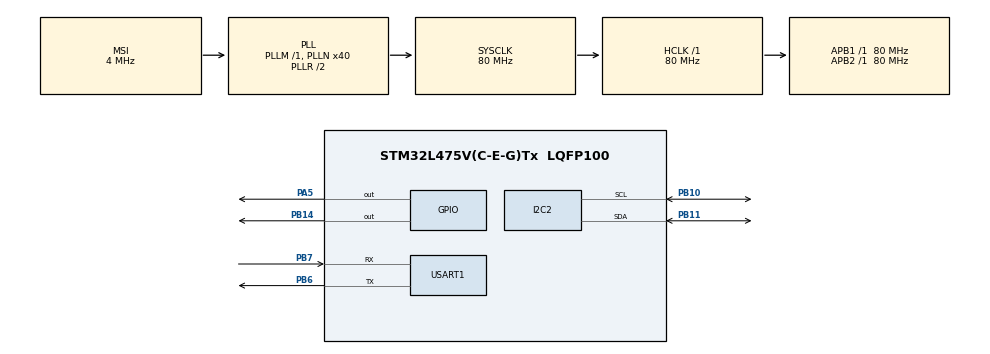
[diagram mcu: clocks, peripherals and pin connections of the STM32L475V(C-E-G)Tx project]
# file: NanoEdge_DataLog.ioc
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I2C2.Timing=0x10D19CE4
Mcu.Family=STM32L4
Mcu.Name=STM32L475V(C-E-G)Tx
Mcu.Package=LQFP100
NVIC.PriorityGroup=NVIC_PRIORITYGROUP_4
PA5.Signal=GPIO_Output
PB10.Mode=I2C
PB10.Signal=I2C2_SCL
PB11.Mode=I2C
PB11.Signal=I2C2_SDA
PB14.Signal=GPIO_Output
PB6.Mode=Asynchronous
PB6.Signal=USART1_TX
PB7.Mode=Asynchronous
PB7.Signal=USART1_RX
ProjectManager.HeapSize=0x200
ProjectManager.StackSize=0x400
ProjectManager.TargetToolchain=STM32CubeIDE
RCC.AHBFreq_Value=80000000
RCC.APB1Freq_Value=80000000
RCC.APB1TimFreq_Value=80000000
RCC.APB2Freq_Value=80000000
RCC.APB2TimFreq_Value=80000000
RCC.CortexFreq_Value=80000000
RCC.HCLKFreq_Value=80000000
RCC.HSE_VALUE=8000000
RCC.HSI_VALUE=16000000
RCC.LSE_VALUE=32768
RCC.MSI_VALUE=4000000
RCC.PLLN=40
RCC.SYSCLKFreq_VALUE=80000000
RCC.SYSCLKSource=RCC_SYSCLKSOURCE_PLLCLK
RCC.VCOOutputFreq_Value=160000000
USART1.VirtualMode-Asynchronous=VM_ASYNC
board=custom

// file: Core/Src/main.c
/* USER CODE BEGIN Header */
/**
  ******************************************************************************
  * @file           : main.c
  * @brief          : Main program body
  ******************************************************************************
  * @attention
  *
  * Copyright (c) 2026 STMicroelectronics.
  * All rights reserved.
  *
  * This software is licensed under terms that can be found in the LICENSE file
  * in the root directory of this software component.
  * If no LICENSE file comes with this software, it is provided AS-IS.
  *
  ******************************************************************************
  */
/* USER CODE END Header */
#include "main.h"

/* USER CODE BEGIN Includes */
#include <string.h>
#include <stdio.h>
#include "LSM6DSL.h"

/* USER CODE END Includes */

/* USER CODE BEGIN PD */
#define N_SAMPLE 64
/* USER CODE END PD */

I2C_HandleTypeDef hi2c2;

UART_HandleTypeDef huart1;

void SystemClock_Config(void);
static void MX_GPIO_Init(void);
static void MX_I2C2_Init(void);
static void MX_USART1_UART_Init(void);

int main(void)
{

  /* MCU Configuration--------------------------------------------------------*/

  /* Reset of all peripherals, Initializes the Flash interface and the Systick. */
  HAL_Init();

  /* Configure the system clock */
  SystemClock_Config();

  /* Initialize all configured peripherals */
  MX_GPIO_Init();
  MX_I2C2_Init();
  MX_USART1_UART_Init();
  /* USER CODE BEGIN 2 */

  //Inicialización acelerómetro:
  LSM6DSL_Init();

  /* USER CODE END 2 */

  /* Infinite loop */
  /* USER CODE BEGIN WHILE */
  while (1)
  {
	 /* printf("Hola NanoEdge!\r\n");
	  HAL_Delay(500);*/

	  //Variable para guardar datos
	  float accel[3];

	  for(uint16_t i = 0; i < N_SAMPLE ; i++){

		  //Esperar a dato listo
		  while(!LSM6DSL_DataReady());

		  //Leer los datos del acelerometro
		  LSM6DSL_ReadAccel(accel);

		  //Enviarlos al PC por el puerto serie
		  printf("%.3f %.3f %.3f ", accel[0], accel[1], accel[2]);
	  }

	  //Salto de linea
	  printf("\r\n");
    /* USER CODE END WHILE */

  }
}

void SystemClock_Config(void)
{
  RCC_OscInitTypeDef RCC_OscInitStruct = {0};
  RCC_ClkInitTypeDef RCC_ClkInitStruct = {0};

  /** Configure the main internal regulator output voltage
  */
  if (HAL_PWREx_ControlVoltageScaling(PWR_REGULATOR_VOLTAGE_SCALE1) != HAL_OK)
  {
    Error_Handler();
  }

  /** Initializes the RCC Oscillators according to the specified parameters
  * in the RCC_OscInitTypeDef structure.
  */
  RCC_OscInitStruct.OscillatorType = RCC_OSCILLATORTYPE_MSI;
  RCC_OscInitStruct.MSIState = RCC_MSI_ON;
  RCC_OscInitStruct.MSICalibrationValue = 0;
  RCC_OscInitStruct.MSIClockRange = RCC_MSIRANGE_6;
  RCC_OscInitStruct.PLL.PLLState = RCC_PLL_ON;
  RCC_OscInitStruct.PLL.PLLSource = RCC_PLLSOURCE_MSI;
  RCC_OscInitStruct.PLL.PLLM = 1;
  RCC_OscInitStruct.PLL.PLLN = 40;
  RCC_OscInitStruct.PLL.PLLP = RCC_PLLP_DIV7;
  RCC_OscInitStruct.PLL.PLLQ = RCC_PLLQ_DIV2;
  RCC_OscInitStruct.PLL.PLLR = RCC_PLLR_DIV2;
  if (HAL_RCC_OscConfig(&RCC_OscInitStruct) != HAL_OK)
  {
    Error_Handler();
  }

  /** Initializes the CPU, AHB and APB buses clocks
  */
  RCC_ClkInitStruct.ClockType = RCC_CLOCKTYPE_HCLK|RCC_CLOCKTYPE_SYSCLK
                              |RCC_CLOCKTYPE_PCLK1|RCC_CLOCKTYPE_PCLK2;
  RCC_ClkInitStruct.SYSCLKSource = RCC_SYSCLKSOURCE_PLLCLK;
  RCC_ClkInitStruct.AHBCLKDivider = RCC_SYSCLK_DIV1;
  RCC_ClkInitStruct.APB1CLKDivider = RCC_HCLK_DIV1;
  RCC_ClkInitStruct.APB2CLKDivider = RCC_HCLK_DIV1;

  if (HAL_RCC_ClockConfig(&RCC_ClkInitStruct, FLASH_LATENCY_4) != HAL_OK)
  {
    Error_Handler();
  }
}

static void MX_I2C2_Init(void)
{

  hi2c2.Instance = I2C2;
  hi2c2.Init.Timing = 0x10D19CE4;
  hi2c2.Init.OwnAddress1 = 0;
  hi2c2.Init.AddressingMode = I2C_ADDRESSINGMODE_7BIT;
  hi2c2.Init.DualAddressMode = I2C_DUALADDRESS_DISABLE;
  hi2c2.Init.OwnAddress2 = 0;
  hi2c2.Init.OwnAddress2Masks = I2C_OA2_NOMASK;
  hi2c2.Init.GeneralCallMode = I2C_GENERALCALL_DISABLE;
  hi2c2.Init.NoStretchMode = I2C_NOSTRETCH_DISABLE;
  if (HAL_I2C_Init(&hi2c2) != HAL_OK)
  {
    Error_Handler();
  }

  /** Configure Analogue filter
  */
  if (HAL_I2CEx_ConfigAnalogFilter(&hi2c2, I2C_ANALOGFILTER_ENABLE) != HAL_OK)
  {
    Error_Handler();
  }

  /** Configure Digital filter
  */
  if (HAL_I2CEx_ConfigDigitalFilter(&hi2c2, 0) != HAL_OK)
  {
    Error_Handler();
  }

}

static void MX_USART1_UART_Init(void)
{

  huart1.Instance = USART1;
  huart1.Init.BaudRate = 115200;
  huart1.Init.WordLength = UART_WORDLENGTH_8B;
  huart1.Init.StopBits = UART_STOPBITS_1;
  huart1.Init.Parity = UART_PARITY_NONE;
  huart1.Init.Mode = UART_MODE_TX_RX;
  huart1.Init.HwFlowCtl = UART_HWCONTROL_NONE;
  huart1.Init.OverSampling = UART_OVERSAMPLING_16;
  huart1.Init.OneBitSampling = UART_ONE_BIT_SAMPLE_DISABLE;
  huart1.AdvancedInit.AdvFeatureInit = UART_ADVFEATURE_NO_INIT;
  if (HAL_UART_Init(&huart1) != HAL_OK)
  {
    Error_Handler();
  }

}

static void MX_GPIO_Init(void)
{
  GPIO_InitTypeDef GPIO_InitStruct = {0};

  /* GPIO Ports Clock Enable */
  __HAL_RCC_GPIOA_CLK_ENABLE();
  __HAL_RCC_GPIOB_CLK_ENABLE();

  /*Configure GPIO pin Output Level */
  HAL_GPIO_WritePin(GPIOA, GPIO_PIN_5, GPIO_PIN_RESET);

  /*Configure GPIO pin Output Level */
  HAL_GPIO_WritePin(GPIOB, GPIO_PIN_14, GPIO_PIN_RESET);

  /*Configure GPIO pin : PA5 */
  GPIO_InitStruct.Pin = GPIO_PIN_5;
  GPIO_InitStruct.Mode = GPIO_MODE_OUTPUT_PP;
  GPIO_InitStruct.Pull = GPIO_NOPULL;
  GPIO_InitStruct.Speed = GPIO_SPEED_FREQ_LOW;
  HAL_GPIO_Init(GPIOA, &GPIO_InitStruct);

  /*Configure GPIO pin : PB14 */
  GPIO_InitStruct.Pin = GPIO_PIN_14;
  GPIO_InitStruct.Mode = GPIO_MODE_OUTPUT_PP;
  GPIO_InitStruct.Pull = GPIO_NOPULL;
  GPIO_InitStruct.Speed = GPIO_SPEED_FREQ_LOW;
  HAL_GPIO_Init(GPIOB, &GPIO_InitStruct);

}

/* USER CODE BEGIN 4 */
int __io_putchar(int ch)
{
	uint8_t c[1];
	c[0] = ch & 0x00FF;
	HAL_UART_Transmit(&huart1, &*c, 1, 10);
	return ch;
}
/* USER CODE END 4 */

void Error_Handler(void)
{
  __disable_irq();
  while (1)
  {
  }
}
